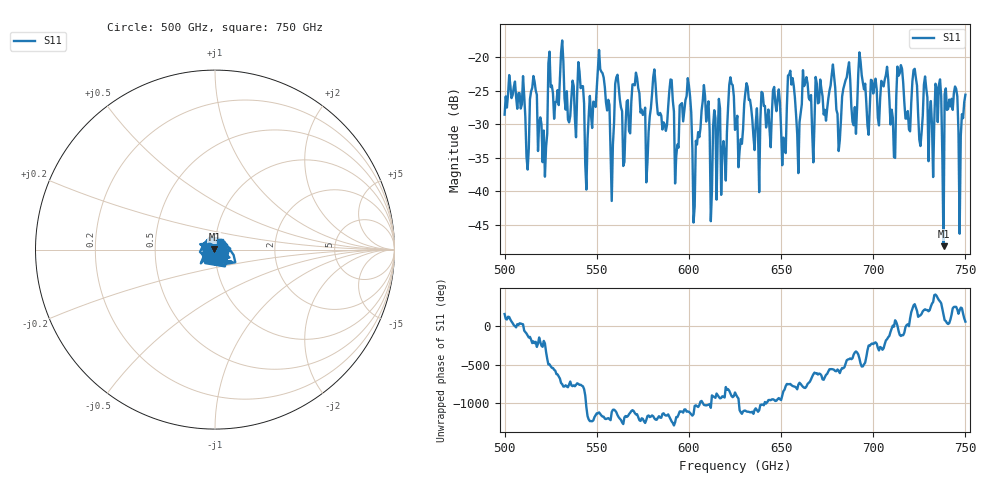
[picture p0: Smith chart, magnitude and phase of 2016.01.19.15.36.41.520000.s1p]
!Created with skrf (http://scikit-rf.org).
# GHz S RI R 50.0
!freq ReS11 ImS11
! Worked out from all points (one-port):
!   401 points, 500 GHz to 750 GHz, reference 50 ohm
!   lowest |S11| = -48.2 dB at 738.1 GHz (marker M1), VSWR 1.01, Z = 49.7 + j0.211 ohm
!   |S11| at or under -10 dB: start of sweep to end of sweep
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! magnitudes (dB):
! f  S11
! 500 GHz  -28.6
! 512.5 GHz  -36.8
! 516.2 GHz  -23.6
! 521.9 GHz  -37.8
! 531.2 GHz  -17.5
! 544.4 GHz  -39.7
! 551.9 GHz  -21.8
! 558.1 GHz  -41.4
! 562.5 GHz  -26.3
! 578.1 GHz  -31.2
! 590.6 GHz  -23.4
! 593.8 GHz  -33.0
! 599.4 GHz  -23.1
! 603.1 GHz  -42.3
! 607.5 GHz  -26.5
! 618.8 GHz  -32.5
! 625 GHz  -30.8
! 651.2 GHz  -32.0
! 656.2 GHz  -23.1
! 659.4 GHz  -37.3
! 687.5 GHz  -23.3
! 706.9 GHz  -22.7
! 710.6 GHz  -29.0
! 714.4 GHz  -22.4
! 718.8 GHz  -28.0
! 722.5 GHz  -21.7
! 738.1 GHz  -48.2
! 750 GHz  -25.6
